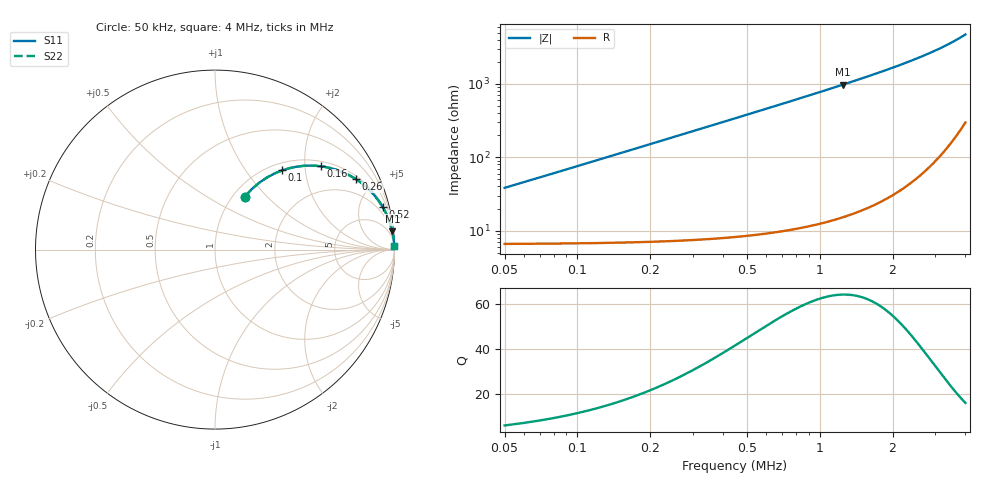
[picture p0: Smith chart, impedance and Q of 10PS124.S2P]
! Coilcraft 1008PS-124 Power Chip Inductor
! 7 October 2002
# MHZ S MA R 50
!Freq  MagS11  AngS11  MagS21  AngS21  MagS12  AngS12  MagS22  AngS22
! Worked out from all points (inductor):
!   396 points, 50 kHz to 4 MHz, reference 50 ohm
!   read as one part in series: L = 120 uH near 60 kHz
!   highest Q = 64.2 at 1.25 MHz (marker M1), where L = 124 uH
!   S11 on the Smith chart (normalised r, x): 50 kHz: 1.13, +0.75; 100 kHz: 1.13, +1.51; 160 kHz: 1.14, +2.41; 260 kHz: 1.15, +3.93; 520 kHz: 1.17, +7.89; 4 MHz: 7, +94
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0.05  0.3385 60.6  0.8845 -19.5  0.8845 -19.5  0.3385 60.6
0.06  0.3948 58.7  0.8635 -23.0  0.8635 -23.0  0.3948 58.7
0.07  0.4471 56.5  0.8405 -26.3  0.8405 -26.3  0.4471 56.5
0.08  0.4953 54.2  0.8161 -29.5  0.8161 -29.5  0.4953 54.2
0.1  0.5794 49.7  0.7653 -35.3  0.7653 -35.3  0.5794 49.7
0.13  0.678 43.5  0.6898 -42.6  0.6898 -42.6  0.678 43.5
0.16  0.7499 38.3  0.6202 -48.5  0.6202 -48.5  0.7499 38.3
0.21  0.8295 31.5  0.5228 -56.0  0.5228 -56.0  0.8295 31.5
0.26  0.8782 26.5  0.447 -61.4  0.447 -61.4  0.8782 26.5
0.31  0.9094 22.8  0.388 -65.4  0.388 -65.4  0.9094 22.8
0.37  0.9336 19.5  0.3335 -68.9  0.3335 -68.9  0.9336 19.5
0.44  0.9515 16.6  0.2855 -72.0  0.2855 -72.0  0.9515 16.6
0.52  0.9644 14.1  0.2444 -74.6  0.2444 -74.6  0.9644 14.1
0.71  0.9802 10.4  0.181 -78.5  0.181 -78.5  0.9802 10.4
0.96  0.9889 7.7  0.1337 -81.4  0.1337 -81.4  0.9889 7.7
1.25  0.9932 5.8  0.1016 -83.3  0.1016 -83.3  0.9932 5.8
1.37  0.9943 5.3  0.09216 -83.8  0.09216 -83.8  0.9943 5.3
1.67  0.996 4.2  0.0741 -84.8  0.0741 -84.8  0.996 4.2
2.03  0.9972 3.4  0.05907 -85.6  0.05907 -85.6  0.9972 3.4
2.69  0.9981 2.4  0.04116 -86.2  0.04116 -86.2  0.9981 2.4
3.35  0.9984 1.7  0.02952 -86.1  0.02952 -86.1  0.9984 1.7
4  0.9984 1.2  0.02119 -85.2  0.02119 -85.2  0.9984 1.2
